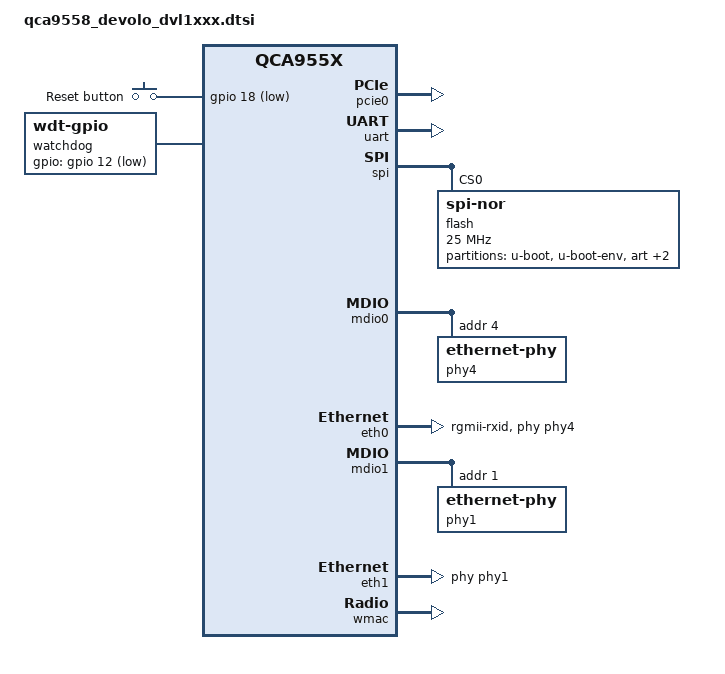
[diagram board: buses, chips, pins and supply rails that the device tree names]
// SPDX-License-Identifier: GPL-2.0-or-later OR MIT

/*
 * The hardware of this board family is most likely shared with other devices
 * from other manufacturers.
 * Devolo seems to use hardware from Edimax, namely the Edimax WAP1750.
 *
 * The base board is identical but the single models differ in number of
 * buttons, ethernet ports, external console, USB, external / internal
 * antennas and number of spatial streams.
 */

#include "qca955x.dtsi"

#include <dt-bindings/gpio/gpio.h>
#include <dt-bindings/input/input.h>

/ {
	keys {
		compatible = "gpio-keys";

		reset {
			label = "Reset button";
			linux,code = <KEY_RESTART>;
			gpios = <&gpio 18 GPIO_ACTIVE_LOW>;
			debounce-interval = <60>;
		};
	};

	watchdog {
		compatible = "linux,wdt-gpio";
		gpios = <&gpio 12 GPIO_ACTIVE_LOW>;
		hw_algo = "toggle";
		hw_margin_ms = <300>;
		always-running;
	};
};

&pcie0 {
	status = "okay";
};

&uart {
	status = "okay";
};

&spi {
	status = "okay";

	num-cs = <1>;

	flash@0 {
		compatible = "jedec,spi-nor";
		reg = <0>;
		spi-max-frequency = <25000000>;

		partitions {
			compatible = "fixed-partitions";
			#address-cells = <1>;
			#size-cells = <1>;

			partition@0 {
				label = "u-boot";
				reg = <0x000000 0x040000>;
				read-only;
			};

			partition@40000 {
				label = "u-boot-env";
				reg = <0x040000 0x010000>;
				read-only;
			};

			art: partition@50000 {
				label = "art";
				reg = <0x050000 0x010000>;
				read-only;
			};

			partition@60000 {
				label = "art_bak";
				reg = <0x060000 0x010000>;
				read-only;
			};

			partition@70000 {
				compatible = "denx,uimage";
				label = "firmware";
				reg = <0x070000 0xf90000>;
			};
		};
	};
};

&mdio0 {
	status = "okay";

	phy4: ethernet-phy@4 {
		reg = <4>;
		eee-broken-100tx;
		eee-broken-1000t;
	};
};

&eth0 {
	status = "okay";

	mtd-mac-address = <&art 0x00>;
	phy-handle = <&phy4>;
	phy-mode = "rgmii-rxid";
	pll-data = <0xae000000 0x80000101 0x80001313>;

	gmac_config: gmac-config {
		device = <&gmac>;

		rxdv-delay = <3>;
		rxd-delay = <3>;
		txen-delay = <0>;
		txd-delay = <0>;
		rgmii-enabled = <1>;
	};
};

&mdio1 {
	phy1: ethernet-phy@1 {
		reg = <1>;
		at803x-override-sgmii-link-check;
	};
};

&eth1 {
	mtd-mac-address = <&art 0x00>;
	mtd-mac-address-increment = <1>;

	phy-handle = <&phy1>;
	pll-data = <0x03000101 0x00000101 0x00001313>;

	qca955x-sgmii-fixup;
};

&wmac {
	status = "okay";

	mtd-cal-data = <&art 0x1000>;
	mtd-mac-address = <&art 0x00>;
	mtd-mac-address-increment = <(-2)>;
};
